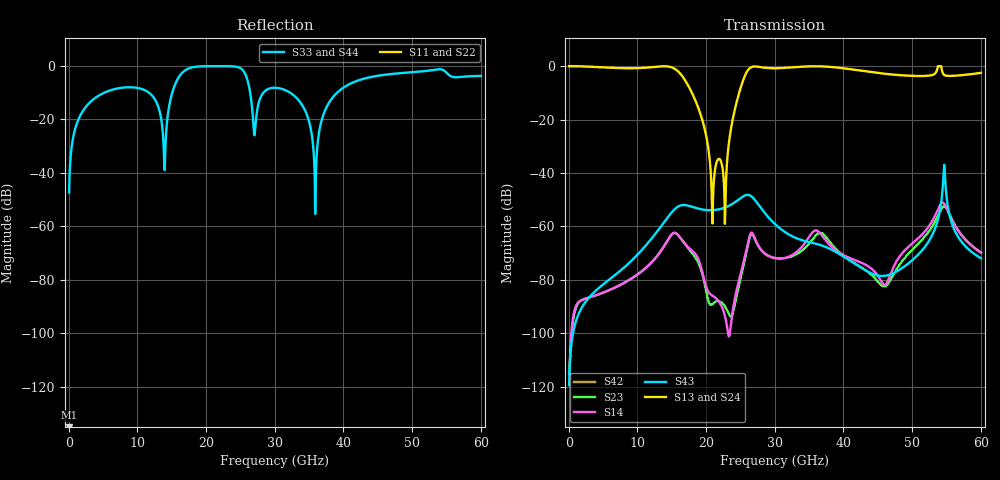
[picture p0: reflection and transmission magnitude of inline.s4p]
! TOUCHSTONE file generated by CST MICROWAVE STUDIO
! Date and time: Mon Jun 16 15:29:09 2025
! Project name: rogers4003c_air_gapped_wideband_balanced.cst
! Parameters = {h=3.4; lambda=10; period=5; phi=0; theta=0; thickness=0.508; w_mesh_1=2.2; w_mesh_2=2.2; w_patch_1=2; w_patch_2=2}
! Header version: 2018
! Port assignment regex: !\s*Touchstone port\s*([0-9]+)\s*=\s*(CST MWS port|CST DS port)\s*([0-9]+|Zmin|Zmax)\s*\(\"(.*)\"\)(\s*mode\s*([0-9]+))?.*
! Touchstone port assignment:
! Touchstone port 1 = CST MWS port Zmin ("") mode 1
! Touchstone port 2 = CST MWS port Zmin ("") mode 2
! Touchstone port 3 = CST MWS port Zmax ("") mode 1
! Touchstone port 4 = CST MWS port Zmax ("") mode 2
! S-Parameters are not renormalized. Unphysical impedance of 50 will be written to the file.
# GHz S RI R 50
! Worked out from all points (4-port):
!   1003 points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, 60 MHz to 60 GHz, reference per port
!   strongest paths, dB at 60 MHz, 15 GHz, 30 GHz, 45 GHz, 60 GHz:
!     S13: 0.0, -0.5, -0.8, -2.5, -2.5
!     S24: 0.0, -0.5, -0.8, -2.5, -2.5
!     S43: -119.4, -54.7, -59.1, -78.4, -71.9
!     S14: -114.9, -62.9, -71.9, -78.5, -69.8
!     S23: -115.4, -63.0, -71.8, -80.7, -69.8
!     S42: -, -, -, -, -
!   lowest |S11| = - dB at 60 MHz (marker M1), VSWR 1.00
!   |S11| at or under -10 dB: start of sweep to end of sweep
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0.06  0 0  0 0  1 -0.00429  1.11e-06 1.42e-06
      0 0  0 0  8.96e-07 1.44e-06  1 -0.00429
      0 0  0 0  -6.49e-06 -0.00432  -1.26e-07 1.08e-06
      0 0  0 0  -1.41e-07 1.06e-06  -6.56e-06 -0.00432
15.78  0 0  0 0  -0.2244 -0.7973  0.00039 -0.000603
       0 0  0 0  0.000399 -0.000593  -0.2275 -0.7944
       0 0  0 0  0.523 -0.1602  0.00019 0.00228
       0 0  0 0  0.000199 0.00228  0.5241 -0.1666
20.94  0 0  0 0  0.000942 -0.000629  -2.95e-05 -4.07e-05
       0 0  0 0  -3.22e-06 -3.52e-05  0.0016 -0.000564
       0 0  0 0  0.0992 -0.9914  0.002 0.000201
       0 0  0 0  0.002 0.000201  0.0919 -0.9921
26.64  0 0  0 0  0.2804 0.9251  0.000753 -0.000134
       0 0  0 0  0.000706 -0.000126  0.2918 0.9236
       0 0  0 0  -0.1934 -0.00123  -0.000437 -0.00358
       0 0  0 0  -0.00044 -0.00358  -0.183 0.00687
35.88  0 0  0 0  0.9611 -0.2549  -0.000119 -0.000832
       0 0  0 0  0.000137 -0.000642  0.9609 -0.2562
       0 0  0 0  -0.0014 -0.000981  -0.000172 0.000507
       0 0  0 0  -0.00015 0.000452  -0.000562 0.000171
54.66  0 0  0 0  0.6699 -0.1516  -0.000227 0.00267
       0 0  0 0  -0.000685 0.00228  0.6598 -0.1542
       0 0  0 0  0.4156 0.7084  -0.0134 -0.0122
       0 0  0 0  -0.0077 -0.012  0.4092 0.7237
60  0 0  0 0  0.5756 -0.4806  0.000261 0.000193
    0 0  0 0  0.000257 0.000198  0.5752 -0.4812
    0 0  0 0  0.4276 0.4954  -0.000248 6.23e-05
    0 0  0 0  -0.000247 5.7e-05  0.4262 0.4965
